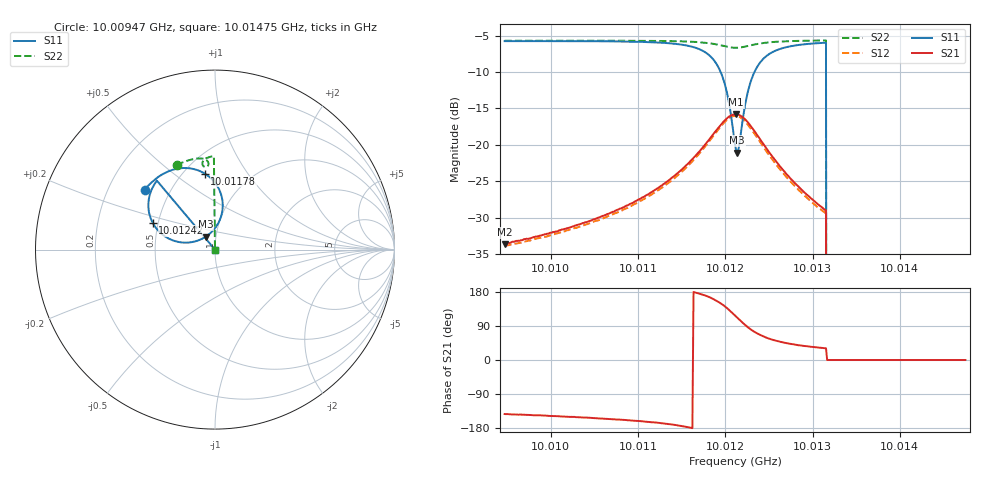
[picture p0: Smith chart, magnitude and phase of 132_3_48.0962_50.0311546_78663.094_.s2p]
#  HZ  S  RI  R  50.00
! Rohde & Schwarz Vector Network Analyzer
! Rohde-Schwarz,ZNB20-2Port,1311601062101988,3.16
! Created: UTC 12/23/2023, 3:47:52 AM
! freq[Hz]  re:S11  im:S11  re:S21  im:S21  re:S12  im:S12  re:S22  im:S22
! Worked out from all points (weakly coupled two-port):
!   401 points, 10.00947 GHz to 10.01475 GHz, reference 50 ohm
!   highest |S21| = -15.80 dB at 10.01212 GHz (marker M1); lowest = -33.6 dB at 10.00947 GHz (marker M2)
!   lowest |S11| = -21.1 dB at 10.01214 GHz (marker M3), VSWR 1.19, Z = 44.6 + j6.46 ohm
!   |S11| at or under -10 dB: 10.01195 GHz to 10.01234 GHz (388.1 kHz wide, 0.00388 % of centre); 10.01315 GHz to end of sweep
!   |S22| runs from - to -5.7 dB; largest |S21 - S12| = 0.0082
!   S11 on the Smith chart (normalised r, x): 10.00947 GHz: 0.36, +0.32; 10.01178 GHz: 0.63, +0.65; 10.01242 GHz: 0.47, +0.16; 10.01475 GHz: 1.00, +0.00
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1.0009471e10  -0.3926 0.333  -0.0165 -0.0127  -0.0154 -0.013  -0.2132 0.4719
1.0010356e10  -0.3376 0.3883  -0.0253 -0.0137  -0.0237 -0.0144  -0.1585 0.494
1.001124e10  -0.2363 0.4445  -0.0496 -0.0124  -0.0471 -0.0142  -0.0963 0.5077
1.0011544e10  -0.161 0.4546  -0.0713 -0.00474  -0.0685 -0.00863  -0.0705 0.5073
1.0011782e10  -0.057 0.4236  -0.1007 0.0191  -0.0984 0.0134  -0.0478 0.4988
1.00119e10  0.00979 0.3585  -0.1156 0.0511  -0.115 0.0437  -0.0383 0.4873
1.001198e10  0.041 0.2768  -0.1172 0.084  -0.1178 0.0766  -0.0363 0.4761
1.0012032e10  0.0392 0.2056  -0.108 0.1101  -0.1101 0.1028  -0.0388 0.4684
1.0012112e10  -0.0183 0.0987  -0.0743 0.1441  -0.0778 0.1373  -0.0496 0.4608
1.0012125e10  -0.0343 0.0843  -0.0667 0.1478  -0.0706 0.1412  -0.0517 0.4605
1.0012138e10  -0.0518 0.0718  -0.059 0.1505  -0.0626 0.1444  -0.054 0.4605
1.0012164e10  -0.0899 0.0524  -0.0433 0.1538  -0.047 0.1478  -0.0584 0.4615
1.001223e10  -0.1885 0.0402  -0.00483 0.1489  -0.00937 0.1436  -0.0669 0.4681
1.001227e10  -0.2394 0.0531  0.0136 0.1394  0.00878 0.1345  -0.0698 0.4736
1.0012336e10  -0.3033 0.0928  0.034 0.1191  0.0283 0.1155  -0.0703 0.4833
1.0012415e10  -0.3467 0.1489  0.0455 0.0955  0.0403 0.0928  -0.0666 0.4933
1.0012627e10  -0.3706 0.2637  0.0474 0.0532  0.0431 0.0527  -0.0493 0.5089
1.0012996e10  -0.3394 0.361  0.0349 0.0238  0.0319 0.0244  -0.0182 0.5186
1.0013128e10  -0.3262 0.3807  0.0311 0.0188  0.0287 0.0196  -0.00815 0.5199
1.0013194e10  0 0  0 0  0 0  0 0
1.0013881e10  0 0  0 0  0 0  0 0
1.0014752e10  0 0  0 0  0 0  0 0
